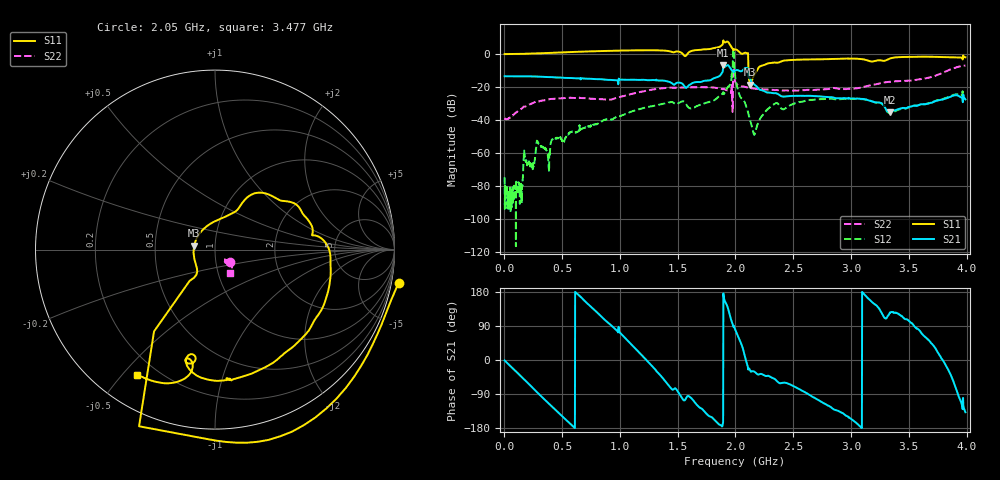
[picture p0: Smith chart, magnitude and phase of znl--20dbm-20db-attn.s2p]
#  HZ  S  RI  R  50.00
! Rohde & Schwarz Vector Network Analyzer
! Rohde-Schwarz,ZNL20-2Port,1323001220101312,1.72.1.6-23.02.1.246
! Created: UTC 10/23/2024, 9:37:13 PM
! freq[Hz]  re:S11  im:S11  re:S21  im:S21  re:S12  im:S12  re:S22  im:S22
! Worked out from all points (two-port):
!   2000 points, 3.9 MHz to 3.99 GHz, reference 50 ohm
!   highest |S21| = -6.58 dB at 1.896 GHz (marker M1); lowest = -35.3 dB at 3.334 GHz (marker M2)
!   |S21| within 3 dB of the highest: 1.892 GHz to 1.966 GHz (73.92 MHz wide, 3.83 % of centre); 2.067 GHz to 2.11 GHz (43.57 MHz wide, 2.09 % of centre)
!   lowest |S11| = -18.5 dB at 2.129 GHz (marker M3), VSWR 1.27, Z = 39.5 + j1.74 ohm
!   |S11| at or under -10 dB: 2.113 GHz to 2.186 GHz (73.64 MHz wide, 3.43 % of centre)
!   |S22| runs from -39.4 to -7.0 dB; largest |S21 - S12| = 1.6
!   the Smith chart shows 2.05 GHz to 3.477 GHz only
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3900000  1 -0.00505  0.2133 -0.00417  0.000129 -0.000137  0.0114 0.000186
1.374911e8  0.9931 -0.1969  0.1613 -0.1384  -8.86e-05 7.62e-05  0.015 0.0145
1.833507e8  0.9871 -0.2663  0.1235 -0.1716  -0.000576 5.2e-05  0.0193 0.0173
2.451615e8  0.972 -0.3635  0.062 -0.2015  0.000221 0.00034  0.0249 0.0214
2.95009e8  0.9547 -0.4462  0.00688 -0.2076  -0.00199 -0.000428  0.0307 0.0207
3.767587e8  0.907 -0.5843  -0.0759 -0.1872  -7.08e-05 0.000902  0.0361 0.0209
4.266062e8  0.8687 -0.6711  -0.12 -0.159  -0.00226 0.00151  0.0403 0.0183
6.698616e8  0.5128 -1.069  -0.1779 0.0505  0.00313 0.00447  0.046 0.00793
1.030757e9  -0.4387 -1.205  0.0773 0.1494  0.0088 -0.0115  0.0479 0.0232
1.333829e9  -1.202 -0.4796  0.1302 -0.0906  -0.0215 -0.0198  0.0887 0.014
1.708682e9  -1.098 0.8065  -0.0907 -0.1146  -0.0113 0.0279  0.0919 -0.0388
1.874175e9  -0.395 1.706  -0.2367 -0.0337  0.0297 0.0494  0.0749 -0.0479
1.896108e9  0.1258 2.582  -0.4675 0.036  0.0461 0.0434  0.0752 -0.0458
1.93798e9  1.262 1.944  -0.3196 0.3259  0.0915 0.0484  0.0689 -0.0376
1.997797e9  1.273 0.5432  0.0501 0.3124  -0.129 -0.1774  0.1207 -0.0847
2.089516e9  0.2353 -1.071  0.3819 0.00884  -0.0269 -0.0115  0.0739 -0.0686
2.129394e9  -0.1167 0.0217  0.1508 -0.0848  -0.00944 -0.000323  0.0667 -0.0654
2.21912e9  0.3123 0.3009  0.0657 -0.0488  0.0119 0.000572  0.0616 -0.061
2.661765e9  0.5045 -0.4726  -0.00563 -0.054  0.00364 -0.041  0.0582 -0.0576
3.325732e9  -0.1415 -0.6939  -0.00855 0.0154  -0.00718 0.0154  0.0909 -0.1125
3.333708e9  -0.1573 -0.7102  -0.0094 0.0145  -0.00825 0.014  0.0904 -0.1135
3.9897e9  -0.7738 -0.2034  -0.0316 -0.0287  -0.0333 -0.0276  -0.1182 -0.4315
